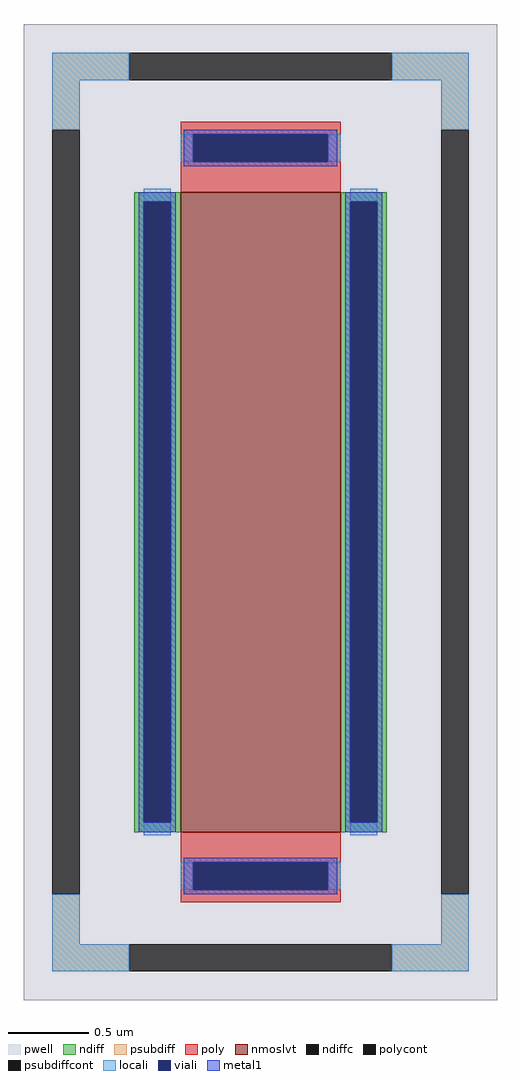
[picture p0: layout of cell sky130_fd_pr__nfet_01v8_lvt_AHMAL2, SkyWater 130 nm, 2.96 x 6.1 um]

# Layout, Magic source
magic
tech sky130A
<< pwell >>
rect -148 -305 148 305
<< nmoslvt >>
rect -50 -200 50 200
<< ndiff >>
rect -79 194 -50 200
rect -79 -194 -73 194
rect -56 -194 -50 194
rect -79 -200 -50 -194
rect 50 194 79 200
rect 50 -194 56 194
rect 73 -194 79 194
rect 50 -200 79 -194
<< ndiffc >>
rect -73 -194 -56 194
rect 56 -194 73 194
<< psubdiff >>
rect -130 270 -82 287
rect 82 270 130 287
rect -130 239 -113 270
rect 113 239 130 270
rect -130 -270 -113 -239
rect 113 -270 130 -239
rect -130 -287 -82 -270
rect 82 -287 130 -270
<< psubdiffcont >>
rect -82 270 82 287
rect -130 -239 -113 239
rect 113 -239 130 239
rect -82 -287 82 -270
<< poly >>
rect -50 236 50 244
rect -50 219 -42 236
rect 42 219 50 236
rect -50 200 50 219
rect -50 -219 50 -200
rect -50 -236 -42 -219
rect 42 -236 50 -219
rect -50 -244 50 -236
<< polycont >>
rect -42 219 42 236
rect -42 -236 42 -219
<< locali >>
rect -130 270 -82 287
rect 82 270 130 287
rect -130 239 -113 270
rect 113 239 130 270
rect -50 219 -42 236
rect 42 219 50 236
rect -73 194 -56 202
rect -73 -202 -56 -194
rect 56 194 73 202
rect 56 -202 73 -194
rect -50 -236 -42 -219
rect 42 -236 50 -219
rect -130 -270 -113 -239
rect 113 -270 130 -239
rect -130 -287 -82 -270
rect 82 -287 130 -270
<< viali >>
rect -42 219 42 236
rect -73 -194 -56 194
rect 56 -194 73 194
rect -42 -236 42 -219
<< metal1 >>
rect -48 236 48 239
rect -48 219 -42 236
rect 42 219 48 236
rect -48 216 48 219
rect -76 194 -53 200
rect -76 -194 -73 194
rect -56 -194 -53 194
rect -76 -200 -53 -194
rect 53 194 76 200
rect 53 -194 56 194
rect 73 -194 76 194
rect 53 -200 76 -194
rect -48 -219 48 -216
rect -48 -236 -42 -219
rect 42 -236 48 -219
rect -48 -239 48 -236
<< properties >>
string FIXED_BBOX -121 -278 121 278
string gencell sky130_fd_pr__nfet_01v8_lvt
string library sky130
string parameters w 4.0 l 1.0 m 1 nf 1 diffcov 100 polycov 100 guard 1 glc 1 grc 1 gtc 1 gbc 1 tbcov 100 rlcov 100 topc 1 botc 1 poverlap 0 doverlap 1 lmin 0.15 wmin 0.42 compatible {sky130_fd_pr__nfet_01v8 sky130_fd_pr__nfet_01v8_lvt  sky130_fd_bs_flash__special_sonosfet_star  sky130_fd_pr__nfet_g5v0d10v5 sky130_fd_pr__nfet_05v0_nvt  sky130_fd_pr__nfet_03v3_nvt} full_metal 1 viasrc 100 viadrn 100 viagate 100 viagb 0 viagr 0 viagl 0 viagt 0
<< end >>
